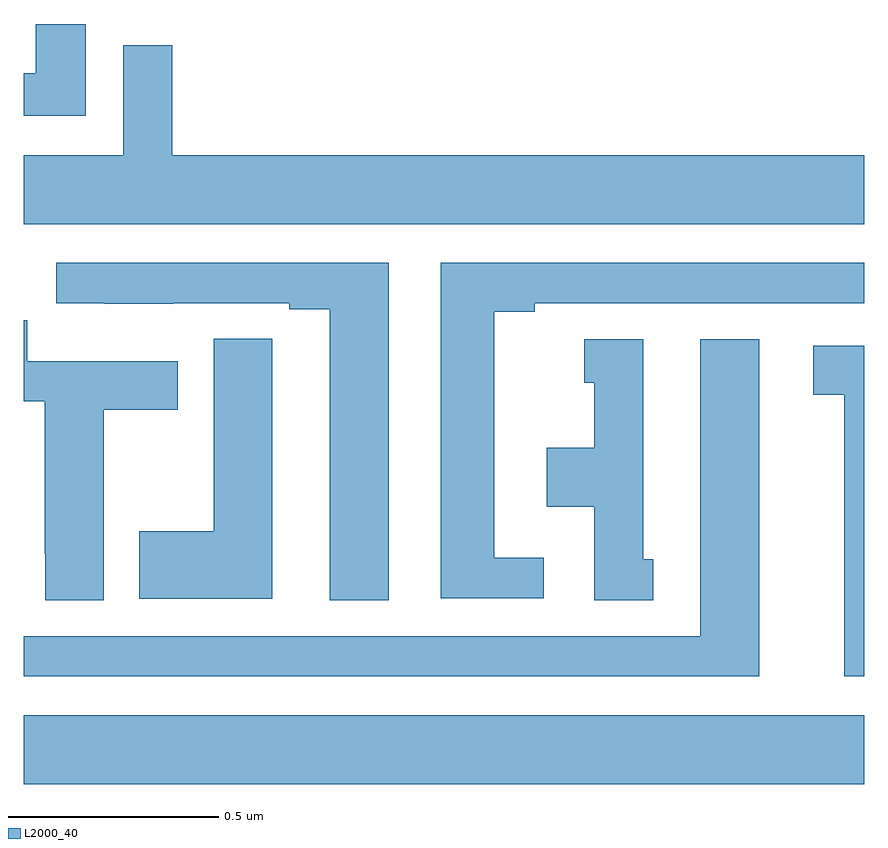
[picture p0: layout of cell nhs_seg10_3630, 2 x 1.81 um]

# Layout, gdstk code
import gdstk
lib = gdstk.Library(unit=1e-6, precision=1e-09)
def R(c, l, rs):  # rectangles x0, y0, x1, y1
    for r in rs: c.add(gdstk.rectangle(r[:2], r[2:], *l))
def P(c, l, *ps):  # polygons
    for p in ps: c.add(gdstk.Polygon(p, *l))
L2000_40 = (2000, 40)

nhs_seg10_3630 = lib.new_cell('nhs_seg10_3630')
R(nhs_seg10_3630, L2000_40, [(156,1257.692,158,1257.856)])
P(nhs_seg10_3630, L2000_40, [(156.148,1259.5),(156.029,1259.5),(156.029,1259.383),(156,1259.383),(156,1259.282),(156.148,1259.282)],
  [(158,1259.188),(156.353,1259.188),(156.353,1259.449),(156.237,1259.449),(156.237,1259.188),(156,1259.188),(156,1259.024),(158,1259.024)],
  [(156.868,1258.932),(156.078,1258.932),(156.078,1258.836),(156.19,1258.836),(156.19,1258.835),(156.356,1258.835),(156.356,1258.836),(156.632,1258.836),(156.632,1258.821),(156.728,1258.821),(156.728,1258.129),(156.868,1258.129)],
  [(157.237,1258.23),(157.12,1258.23),(157.12,1258.816),(157.216,1258.816),(157.216,1258.836),(158,1258.836),(158,1258.932),(156.992,1258.932),(156.992,1258.134),(157.237,1258.134)],
  [(156.19,1258.582),(156.367,1258.582),(156.367,1258.698),(156.008,1258.698),(156.008,1258.795),(156,1258.795),(156,1258.602),(156.05,1258.602),(156.05,1258.24),(156.051,1258.24),(156.051,1258.129),(156.19,1258.129)],
  [(156.592,1258.643),(156.591,1258.643),(156.591,1258.751),(156.452,1258.751),(156.452,1258.293),(156.275,1258.293),(156.275,1258.133),(156.592,1258.133)],
  [(157.75,1258.75),(157.61,1258.75),(157.61,1258.044),(156,1258.044),(156,1257.948),(157.75,1257.948)],
  [(157.498,1258.227),(157.474,1258.227),(157.474,1258.75),(157.334,1258.75),(157.334,1258.647),(157.358,1258.647),(157.358,1258.492),(157.244,1258.492),(157.244,1258.352),(157.358,1258.352),(157.358,1258.129),(157.498,1258.129)],
  [(158,1258.734),(157.878,1258.734),(157.878,1258.618),(157.952,1258.618),(157.952,1257.948),(158,1257.948)])

lib.write_gds('nhs_seg10_3630.gds')
